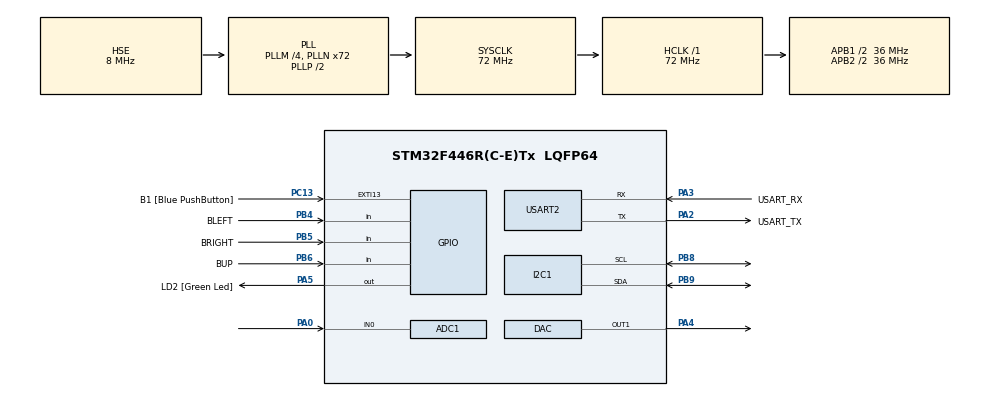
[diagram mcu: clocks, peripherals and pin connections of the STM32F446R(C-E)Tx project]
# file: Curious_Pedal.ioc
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ADC1.Channel-4\#ChannelRegularConversion=ADC_CHANNEL_0
ADC1.ContinuousConvMode=DISABLE
ADC1.DMAContinuousRequests=ENABLE
ADC1.EnableAnalogWatchDog=false
ADC1.ExternalTrigConv=ADC_EXTERNALTRIGCONV_T2_TRGO
ADC1.InjNumberOfConversion=0
ADC1.NbrOfConversionFlag=1
ADC1.Rank-4\#ChannelRegularConversion=1
ADC1.SamplingTime-4\#ChannelRegularConversion=ADC_SAMPLETIME_15CYCLES
ADC1.master=1
DAC.DAC_Trigger=DAC_TRIGGER_T2_TRGO
Dma.ADC1.0.Direction=DMA_PERIPH_TO_MEMORY
Dma.ADC1.0.FIFOMode=DMA_FIFOMODE_DISABLE
Dma.ADC1.0.Instance=DMA2_Stream0
Dma.ADC1.0.MemDataAlignment=DMA_MDATAALIGN_WORD
Dma.ADC1.0.MemInc=DMA_MINC_ENABLE
Dma.ADC1.0.Mode=DMA_CIRCULAR
Dma.ADC1.0.PeriphDataAlignment=DMA_PDATAALIGN_WORD
Dma.ADC1.0.PeriphInc=DMA_PINC_DISABLE
Dma.ADC1.0.Priority=DMA_PRIORITY_HIGH
Dma.DAC1.1.Direction=DMA_MEMORY_TO_PERIPH
Dma.DAC1.1.FIFOMode=DMA_FIFOMODE_DISABLE
Dma.DAC1.1.Instance=DMA1_Stream5
Dma.DAC1.1.MemDataAlignment=DMA_MDATAALIGN_WORD
Dma.DAC1.1.MemInc=DMA_MINC_ENABLE
Dma.DAC1.1.Mode=DMA_CIRCULAR
Dma.DAC1.1.PeriphDataAlignment=DMA_PDATAALIGN_WORD
Dma.DAC1.1.PeriphInc=DMA_PINC_DISABLE
Dma.DAC1.1.Priority=DMA_PRIORITY_HIGH
Dma.Request0=ADC1
Dma.Request1=DAC1
I2C1.I2C_Mode=I2C_Fast
Mcu.Family=STM32F4
Mcu.Name=STM32F446R(C-E)Tx
Mcu.Package=LQFP64
NVIC.DMA1_Stream5_IRQn=true\:0\:0\:false\:false\:true\:false\:true
NVIC.DMA2_Stream0_IRQn=true\:0\:0\:false\:false\:true\:false\:true
NVIC.PriorityGroup=NVIC_PRIORITYGROUP_0
PA0-WKUP.Signal=ADCx_IN0
PA13.GPIO_Label=TMS
PA13.Mode=Serial_Wire
PA13.Signal=SYS_JTMS-SWDIO
PA14.GPIO_Label=TCK
PA14.Mode=Serial_Wire
PA14.Signal=SYS_JTCK-SWCLK
PA2.GPIO_Label=USART_TX
PA2.Mode=Asynchronous
PA2.Signal=USART2_TX
PA3.GPIO_Label=USART_RX
PA3.Mode=Asynchronous
PA3.Signal=USART2_RX
PA4.Signal=COMP_DAC1_group
PA5.GPIO_Label=LD2 [Green Led]
PA5.Signal=GPIO_Output
PB3.Signal=SYS_JTDO-SWO
PB4.GPIO_Label=BLEFT
PB4.GPIO_PuPd=GPIO_PULLDOWN
PB4.Signal=GPIO_Input
PB5.GPIO_Label=BRIGHT
PB5.GPIO_PuPd=GPIO_PULLDOWN
PB5.Signal=GPIO_Input
PB6.GPIO_Label=BUP
PB6.GPIO_PuPd=GPIO_PULLDOWN
PB6.Signal=GPIO_Input
PB8.Mode=I2C
PB8.Signal=I2C1_SCL
PB9.Mode=I2C
PB9.Signal=I2C1_SDA
PC13.GPIO_Label=B1 [Blue PushButton]
PC13.GPIO_ModeDefaultEXTI=GPIO_MODE_IT_FALLING
PC13.GPIO_PuPd=GPIO_PULLDOWN
PC13.Signal=GPXTI13
PC14-OSC32_IN.Mode=LSE-External-Oscillator
PC14-OSC32_IN.Signal=RCC_OSC32_IN
PC15-OSC32_OUT.Mode=LSE-External-Oscillator
PC15-OSC32_OUT.Signal=RCC_OSC32_OUT
PH0-OSC_IN.Mode=HSE-External-Oscillator
PH0-OSC_IN.Signal=RCC_OSC_IN
PH1-OSC_OUT.Mode=HSE-External-Oscillator
PH1-OSC_OUT.Signal=RCC_OSC_OUT
ProjectManager.HeapSize=0x200
ProjectManager.StackSize=0x400
ProjectManager.TargetToolchain=STM32CubeIDE
RCC.48MHZClocksFreq_Value=84000000
RCC.AHBFreq_Value=72000000
RCC.APB1CLKDivider=RCC_HCLK_DIV2
RCC.APB1Freq_Value=36000000
RCC.APB1TimFreq_Value=72000000
RCC.APB2CLKDivider=RCC_HCLK_DIV2
RCC.APB2Freq_Value=36000000
RCC.APB2TimFreq_Value=72000000
RCC.CortexFreq_Value=72000000
RCC.FLatency-AdvancedSettings=FLASH_LATENCY_2
RCC.HCLKFreq_Value=72000000
RCC.HSE_VALUE=8000000
RCC.HSI_VALUE=16000000
RCC.PLLM=4
RCC.PLLN=72
RCC.PLLSourceVirtual=RCC_PLLSOURCE_HSE
RCC.SYSCLKFreq_VALUE=72000000
RCC.SYSCLKSource=RCC_SYSCLKSOURCE_PLLCLK
RCC.USBFreq_Value=72000000
RCC.VCOOutputFreq_Value=144000000
SH.ADCx_IN0.0=ADC1_IN0,IN0
SH.COMP_DAC1_group.0=DAC_OUT1,DAC_OUT1
TIM2.CounterMode=TIM_COUNTERMODE_UP
TIM2.Period=1439
TIM2.TIM_MasterOutputTrigger=TIM_TRGO_UPDATE
TIM2.TIM_MasterSlaveMode=TIM_MASTERSLAVEMODE_DISABLE
USART2.VirtualMode=VM_ASYNC
VP_TIM2_VS_ClockSourceINT.Mode=Internal
board=NUCLEO-F446RE

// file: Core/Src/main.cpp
/* USER CODE BEGIN Header */
/**
  ******************************************************************************
  * @file           : main.c
  * @brief          : Main program body
  ******************************************************************************
  * @attention
  *
  * <h2><center>&copy; Copyright (c) 2020 STMicroelectronics.
  * All rights reserved.</center></h2>
  *
  * This software component is licensed by ST under BSD 3-Clause license,
  * the "License"; You may not use this file except in compliance with the
  * License. You may obtain a copy of the License at:
  *                        opensource.org/licenses/BSD-3-Clause
  *
  ******************************************************************************
  */
/* USER CODE END Header */

#include "main.h"

/* USER CODE BEGIN Includes */
#include <string>

#include "RJA_SSD1306.h"
/* USER CODE END Includes */

/* USER CODE BEGIN PD */
/* Number of samples user accesses per datablock */
#define DATA_SIZE 128
/* Total size of the buffer */
#define FULL_BUFFER_SIZE 256

/* USER CODE END PD */

ADC_HandleTypeDef hadc1;
DMA_HandleTypeDef hdma_adc1;

DAC_HandleTypeDef hdac;
DMA_HandleTypeDef hdma_dac1;

I2C_HandleTypeDef hi2c1;

TIM_HandleTypeDef htim2;

UART_HandleTypeDef huart2;

/* USER CODE BEGIN PV */
volatile uint32_t adc_val[FULL_BUFFER_SIZE];
volatile uint32_t dac_val[FULL_BUFFER_SIZE];

// Pointer to the half buffer which should be processed
static volatile uint32_t* inBufPtr;
static volatile uint32_t* outBufPtr;

static int prescaler= 5;
static float adc_sample;
static float modified_sample;
static float effect_sample;
/* USER CODE END PV */

void SystemClock_Config(void);
static void MX_GPIO_Init(void);
static void MX_DMA_Init(void);
static void MX_USART2_UART_Init(void);
static void MX_I2C1_Init(void);
static void MX_ADC1_Init(void);
static void MX_DAC_Init(void);
static void MX_TIM2_Init(void);

/* USER CODE BEGIN 0 */
OLED OLED1;

void HAL_ADC_ConvHalfCpltCallback(ADC_HandleTypeDef* hadc)
{
//First half of ADC buffer is now full
	inBufPtr =&adc_val[0];
	outBufPtr = &dac_val[DATA_SIZE];
}

void HAL_ADC_ConvCpltCallback(ADC_HandleTypeDef* hadc){

	inBufPtr =&adc_val[DATA_SIZE];
	outBufPtr = &dac_val[0];
}

/*
 * __________________UTILITY FUNCTIONS________________________________________
 */

/*
 * Map is a improved version of an arduino function
 * that automatically converts the range of a variable.
 * This is useful for mapping potentiometer values from 0-255 to 0-100
 */
long map(long x, long in_min, long in_max, long out_min, long out_max)
{
  if ((in_max - in_min) > (out_max - out_min)) {
    return (x - in_min) * (out_max - out_min+1) / (in_max - in_min+1) + out_min;
  }
  else
  {
    return (x - in_min) * (out_max - out_min) / (in_max - in_min) + out_min;
  }
}

/*
 * _________________UTILITY FUNCTIONS END_______________________________________
 */

void effectsDSP(){
	// No -effect, just copy input to output
	for (int n=0; n< DATA_SIZE; n++){
		adc_sample = inBufPtr[n] / 4096.0f ;
		adc_sample += 0.0126953f;
		if(adc_sample< 0.501 && adc_sample >  0.499)
				adc_sample = 0.5;
		modified_sample= (adc_sample-0.5) / prescaler;
		modified_sample -= 0.0126953f;
		modified_sample= (modified_sample+ 0.5) * 4096.0f;
	    outBufPtr[n] =uint32_t( modified_sample);
		}

}

/* USER CODE END 0 */

int main(void)
{

  /* MCU Configuration--------------------------------------------------------*/

  /* Reset of all peripherals, Initializes the Flash interface and the Systick. */
  HAL_Init();

  /* Configure the system clock */
  SystemClock_Config();

  /* Initialize all configured peripherals */
  MX_GPIO_Init();
  MX_DMA_Init();
  MX_USART2_UART_Init();
  MX_I2C1_Init();
  MX_ADC1_Init();
  MX_DAC_Init();
  MX_TIM2_Init();
  /* USER CODE BEGIN 2 */

  HAL_TIM_Base_Start(&htim2);
  HAL_ADC_Start_DMA(&hadc1, (uint32_t*)adc_val, FULL_BUFFER_SIZE);
  HAL_DAC_Start_DMA(&hdac, DAC1_CHANNEL_1, (uint32_t*) dac_val, FULL_BUFFER_SIZE, DAC_ALIGN_12B_R);
  /*-----------------ADC AND DAC START------------------------*/

  /*-----------------SECTION_END------------------------------*/

  if(HAL_I2C_IsDeviceReady(&hi2c1, OLED1.getCAddress(), 1, 10)== HAL_OK){
	  HAL_GPIO_WritePin(LD2_GPIO_Port, LD2_Pin, GPIO_PIN_SET);
	  HAL_Delay(100);
	  HAL_GPIO_WritePin(LD2_GPIO_Port, LD2_Pin, GPIO_PIN_RESET);
  }

  OLED1.init(&hi2c1);

  HAL_Delay(200);

  /* USER CODE END 2 */

  /* Infinite loop */
  while (1)
  {

    /* USER CODE BEGIN 3 */

/*-------------------------------------USER INTERFACE-------------------------------
 * All buttons and OLED updates happen in this block
 ***********************************************************************************/
	  if (HAL_GPIO_ReadPin(BRIGHT_GPIO_Port, BRIGHT_Pin) == GPIO_PIN_SET){
		  if(prescaler<3000){
		  prescaler+=10;

		  OLED1.text(0,20, "PS: " + to_string(prescaler), 1, 0, 2);
		  OLED1.drawFullscreen();
		  HAL_Delay(200);}
	  }
	  else if (HAL_GPIO_ReadPin(BLEFT_GPIO_Port, BLEFT_Pin) == GPIO_PIN_SET){
		  if(prescaler>2){
		  prescaler-=10;

		  OLED1.text(0,20, "PS: " + to_string(prescaler), 1, 0, 2);

		  OLED1.drawFullscreen();
		  HAL_Delay(200);
		  }
	  }
// The pcb has a wrong connection in the present version, will correct in next iteration
//	  else if (HAL_GPIO_ReadPin(BDOWN_GPIO_Port, BDOWN_Pin) == GPIO_PIN_SET){
//		  HAL_Delay(100);
//		  HAL_GPIO_TogglePin(LD2_GPIO_Port, LD2_Pin);
//	  }
     else if(HAL_GPIO_ReadPin(BUP_GPIO_Port, BUP_Pin)== GPIO_PIN_SET){

	  OLED1.text(0,5, "Clean", 1, 0, 2);
	  OLED1.text(0,40, "inbuf: " + to_string(inBufPtr[0]), 1, 0, 2);

	  OLED1.drawFullscreen();
	  HAL_Delay(200);
	  }

	 /* ************************************************************************************/

	  effectsDSP(); // Process the audio

  }
  /* USER CODE END 3 */
}

void SystemClock_Config(void)
{
  RCC_OscInitTypeDef RCC_OscInitStruct = {0};
  RCC_ClkInitTypeDef RCC_ClkInitStruct = {0};

  /** Configure the main internal regulator output voltage
  */
  __HAL_RCC_PWR_CLK_ENABLE();
  __HAL_PWR_VOLTAGESCALING_CONFIG(PWR_REGULATOR_VOLTAGE_SCALE3);
  /** Initializes the CPU, AHB and APB busses clocks
  */
  RCC_OscInitStruct.OscillatorType = RCC_OSCILLATORTYPE_HSE;
  RCC_OscInitStruct.HSEState = RCC_HSE_ON;
  RCC_OscInitStruct.PLL.PLLState = RCC_PLL_ON;
  RCC_OscInitStruct.PLL.PLLSource = RCC_PLLSOURCE_HSE;
  RCC_OscInitStruct.PLL.PLLM = 4;
  RCC_OscInitStruct.PLL.PLLN = 72;
  RCC_OscInitStruct.PLL.PLLP = RCC_PLLP_DIV2;
  RCC_OscInitStruct.PLL.PLLQ = 2;
  RCC_OscInitStruct.PLL.PLLR = 2;
  if (HAL_RCC_OscConfig(&RCC_OscInitStruct) != HAL_OK)
  {
    Error_Handler();
  }
  /** Initializes the CPU, AHB and APB busses clocks
  */
  RCC_ClkInitStruct.ClockType = RCC_CLOCKTYPE_HCLK|RCC_CLOCKTYPE_SYSCLK
                              |RCC_CLOCKTYPE_PCLK1|RCC_CLOCKTYPE_PCLK2;
  RCC_ClkInitStruct.SYSCLKSource = RCC_SYSCLKSOURCE_PLLCLK;
  RCC_ClkInitStruct.AHBCLKDivider = RCC_SYSCLK_DIV1;
  RCC_ClkInitStruct.APB1CLKDivider = RCC_HCLK_DIV2;
  RCC_ClkInitStruct.APB2CLKDivider = RCC_HCLK_DIV2;

  if (HAL_RCC_ClockConfig(&RCC_ClkInitStruct, FLASH_LATENCY_2) != HAL_OK)
  {
    Error_Handler();
  }
}

static void MX_ADC1_Init(void)
{

  ADC_ChannelConfTypeDef sConfig = {0};

  /** Configure the global features of the ADC (Clock, Resolution, Data Alignment and number of conversion)
  */
  hadc1.Instance = ADC1;
  hadc1.Init.ClockPrescaler = ADC_CLOCK_SYNC_PCLK_DIV2;
  hadc1.Init.Resolution = ADC_RESOLUTION_12B;
  hadc1.Init.ScanConvMode = DISABLE;
  hadc1.Init.ContinuousConvMode = DISABLE;
  hadc1.Init.DiscontinuousConvMode = DISABLE;
  hadc1.Init.ExternalTrigConvEdge = ADC_EXTERNALTRIGCONVEDGE_RISING;
  hadc1.Init.ExternalTrigConv = ADC_EXTERNALTRIGCONV_T2_TRGO;
  hadc1.Init.DataAlign = ADC_DATAALIGN_RIGHT;
  hadc1.Init.NbrOfConversion = 1;
  hadc1.Init.DMAContinuousRequests = ENABLE;
  hadc1.Init.EOCSelection = ADC_EOC_SINGLE_CONV;
  if (HAL_ADC_Init(&hadc1) != HAL_OK)
  {
    Error_Handler();
  }
  /** Configure for the selected ADC regular channel its corresponding rank in the sequencer and its sample time.
  */
  sConfig.Channel = ADC_CHANNEL_0;
  sConfig.Rank = 1;
  sConfig.SamplingTime = ADC_SAMPLETIME_15CYCLES;
  if (HAL_ADC_ConfigChannel(&hadc1, &sConfig) != HAL_OK)
  {
    Error_Handler();
  }

}

static void MX_DAC_Init(void)
{

  DAC_ChannelConfTypeDef sConfig = {0};

  /** DAC Initialization
  */
  hdac.Instance = DAC;
  if (HAL_DAC_Init(&hdac) != HAL_OK)
  {
    Error_Handler();
  }
  /** DAC channel OUT1 config
  */
  sConfig.DAC_Trigger = DAC_TRIGGER_T2_TRGO;
  sConfig.DAC_OutputBuffer = DAC_OUTPUTBUFFER_ENABLE;
  if (HAL_DAC_ConfigChannel(&hdac, &sConfig, DAC_CHANNEL_1) != HAL_OK)
  {
    Error_Handler();
  }

}

static void MX_I2C1_Init(void)
{

  hi2c1.Instance = I2C1;
  hi2c1.Init.ClockSpeed = 400000;
  hi2c1.Init.DutyCycle = I2C_DUTYCYCLE_2;
  hi2c1.Init.OwnAddress1 = 0;
  hi2c1.Init.AddressingMode = I2C_ADDRESSINGMODE_7BIT;
  hi2c1.Init.DualAddressMode = I2C_DUALADDRESS_DISABLE;
  hi2c1.Init.OwnAddress2 = 0;
  hi2c1.Init.GeneralCallMode = I2C_GENERALCALL_DISABLE;
  hi2c1.Init.NoStretchMode = I2C_NOSTRETCH_DISABLE;
  if (HAL_I2C_Init(&hi2c1) != HAL_OK)
  {
    Error_Handler();
  }

}

static void MX_TIM2_Init(void)
{

  TIM_ClockConfigTypeDef sClockSourceConfig = {0};
  TIM_MasterConfigTypeDef sMasterConfig = {0};

  htim2.Instance = TIM2;
  htim2.Init.Prescaler = 0;
  htim2.Init.CounterMode = TIM_COUNTERMODE_UP;
  htim2.Init.Period = 1439;
  htim2.Init.ClockDivision = TIM_CLOCKDIVISION_DIV1;
  htim2.Init.AutoReloadPreload = TIM_AUTORELOAD_PRELOAD_DISABLE;
  if (HAL_TIM_Base_Init(&htim2) != HAL_OK)
  {
    Error_Handler();
  }
  sClockSourceConfig.ClockSource = TIM_CLOCKSOURCE_INTERNAL;
  if (HAL_TIM_ConfigClockSource(&htim2, &sClockSourceConfig) != HAL_OK)
  {
    Error_Handler();
  }
  sMasterConfig.MasterOutputTrigger = TIM_TRGO_UPDATE;
  sMasterConfig.MasterSlaveMode = TIM_MASTERSLAVEMODE_DISABLE;
  if (HAL_TIMEx_MasterConfigSynchronization(&htim2, &sMasterConfig) != HAL_OK)
  {
    Error_Handler();
  }

}

static void MX_USART2_UART_Init(void)
{

  huart2.Instance = USART2;
  huart2.Init.BaudRate = 115200;
  huart2.Init.WordLength = UART_WORDLENGTH_8B;
  huart2.Init.StopBits = UART_STOPBITS_1;
  huart2.Init.Parity = UART_PARITY_NONE;
  huart2.Init.Mode = UART_MODE_TX_RX;
  huart2.Init.HwFlowCtl = UART_HWCONTROL_NONE;
  huart2.Init.OverSampling = UART_OVERSAMPLING_16;
  if (HAL_UART_Init(&huart2) != HAL_OK)
  {
    Error_Handler();
  }

}

static void MX_DMA_Init(void)
{

  /* DMA controller clock enable */
  __HAL_RCC_DMA2_CLK_ENABLE();
  __HAL_RCC_DMA1_CLK_ENABLE();

  /* DMA interrupt init */
  /* DMA1_Stream5_IRQn interrupt configuration */
  HAL_NVIC_SetPriority(DMA1_Stream5_IRQn, 0, 0);
  HAL_NVIC_EnableIRQ(DMA1_Stream5_IRQn);
  /* DMA2_Stream0_IRQn interrupt configuration */
  HAL_NVIC_SetPriority(DMA2_Stream0_IRQn, 0, 0);
  HAL_NVIC_EnableIRQ(DMA2_Stream0_IRQn);

}

static void MX_GPIO_Init(void)
{
  GPIO_InitTypeDef GPIO_InitStruct = {0};

  /* GPIO Ports Clock Enable */
  __HAL_RCC_GPIOC_CLK_ENABLE();
  __HAL_RCC_GPIOH_CLK_ENABLE();
  __HAL_RCC_GPIOA_CLK_ENABLE();
  __HAL_RCC_GPIOB_CLK_ENABLE();

  /*Configure GPIO pin Output Level */
  HAL_GPIO_WritePin(LD2_GPIO_Port, LD2_Pin, GPIO_PIN_RESET);

  /*Configure GPIO pin : B1_Pin */
  GPIO_InitStruct.Pin = B1_Pin;
  GPIO_InitStruct.Mode = GPIO_MODE_IT_FALLING;
  GPIO_InitStruct.Pull = GPIO_PULLDOWN;
  HAL_GPIO_Init(B1_GPIO_Port, &GPIO_InitStruct);

  /*Configure GPIO pin : LD2_Pin */
  GPIO_InitStruct.Pin = LD2_Pin;
  GPIO_InitStruct.Mode = GPIO_MODE_OUTPUT_PP;
  GPIO_InitStruct.Pull = GPIO_NOPULL;
  GPIO_InitStruct.Speed = GPIO_SPEED_FREQ_LOW;
  HAL_GPIO_Init(LD2_GPIO_Port, &GPIO_InitStruct);

  /*Configure GPIO pins : BLEFT_Pin BRIGHT_Pin BUP_Pin */
  GPIO_InitStruct.Pin = BLEFT_Pin|BRIGHT_Pin|BUP_Pin;
  GPIO_InitStruct.Mode = GPIO_MODE_INPUT;
  GPIO_InitStruct.Pull = GPIO_PULLDOWN;
  HAL_GPIO_Init(GPIOB, &GPIO_InitStruct);

}

/* USER CODE BEGIN 4 */
void splash_screen_OLED(OLED Oled){

}

/* USER CODE END 4 */

void Error_Handler(void)
{
}

/************************ (C) COPYRIGHT STMicroelectronics *****END OF FILE****/
